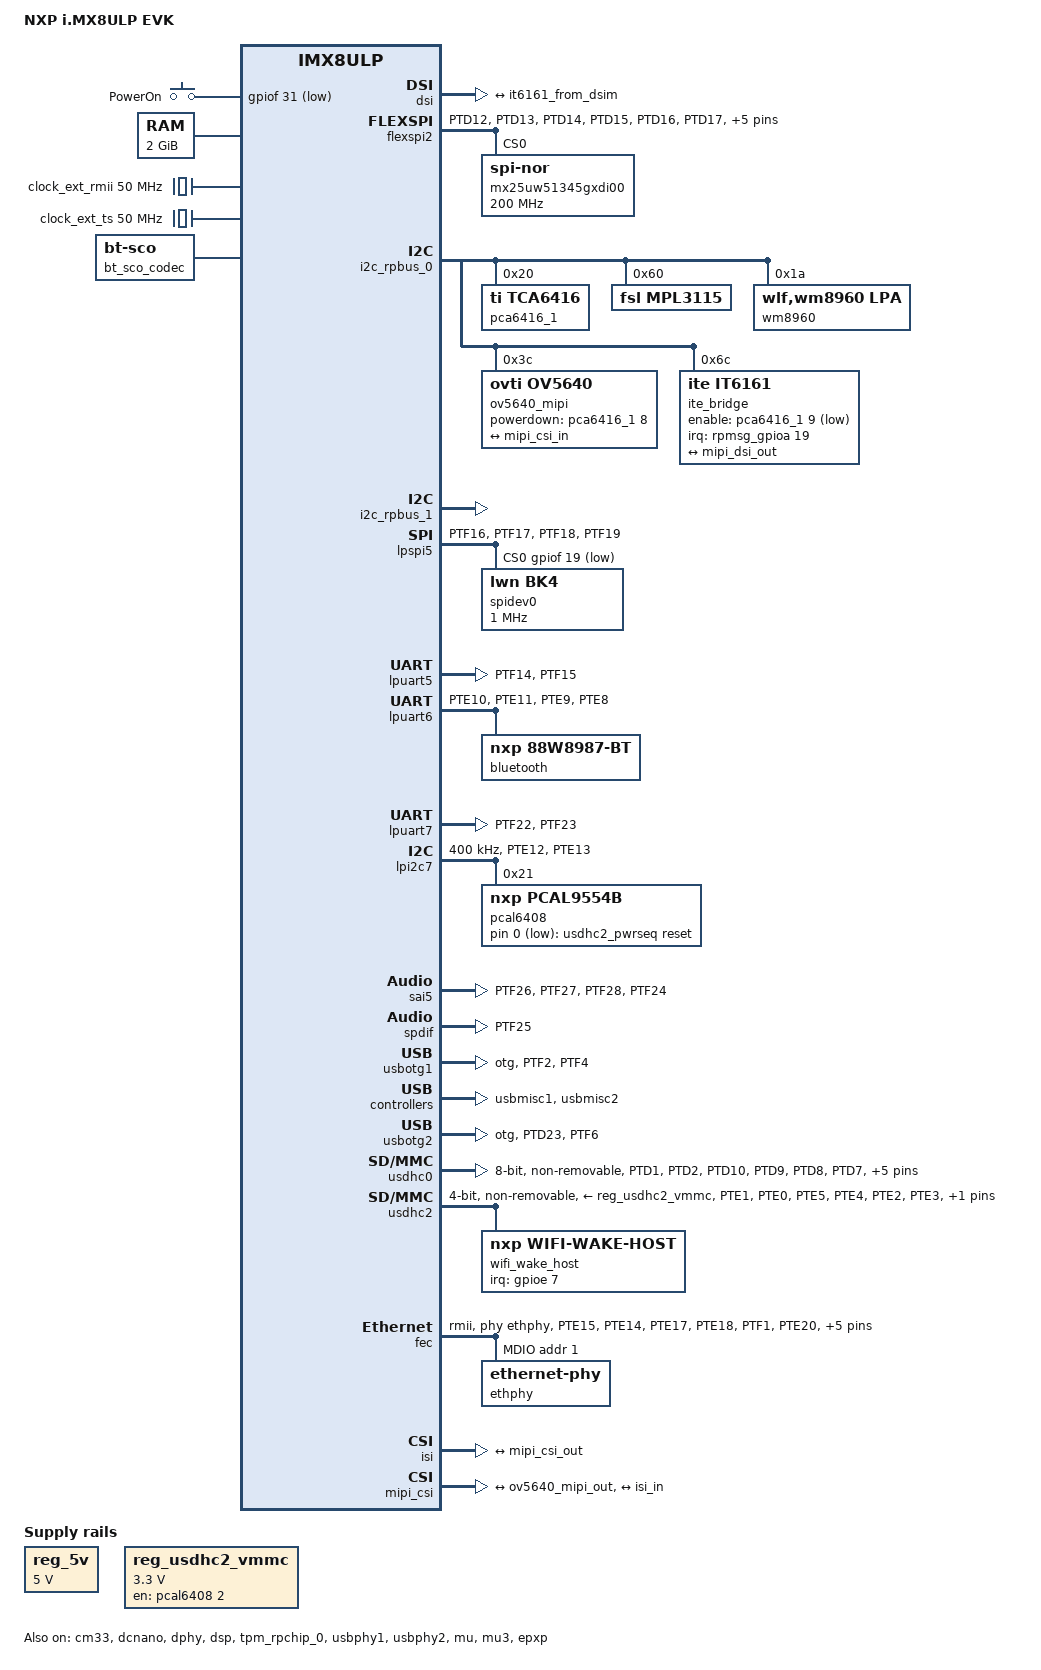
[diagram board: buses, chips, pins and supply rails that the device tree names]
// SPDX-License-Identifier: (GPL-2.0+ OR MIT)
/*
 * Copyright 2021 NXP
 */

/dts-v1/;

#include "imx8ulp.dtsi"
#include "imx8ulp-rpmsg.dtsi"
#include <dt-bindings/input/input.h>

/ {
	model = "NXP i.MX8ULP EVK";
	compatible = "fsl,imx8ulp-evk", "fsl,imx8ulp";

	chosen {
		stdout-path = &lpuart5;
	};

	gpio-keys {
		compatible = "gpio-keys";
		pinctrl-names = "default";
		pinctrl-0 = <&pinctrl_gpio_keys>;

		power-on {
			label = "PowerOn";
			gpios = <&gpiof 31 GPIO_ACTIVE_LOW>;
			linux,code = <KEY_POWER>;
		};
	};

	memory@80000000 {
		device_type = "memory";
		reg = <0x0 0x80000000 0 0x80000000>;
	};

	rpmsg_keys: rpmsg-keys {
		compatible = "fsl,rpmsg-keys";

		volume-up {
			label = "VolumeUp";
			linux,code = <KEY_VOLUMEUP>;
			rpmsg-key,wakeup;
		};

		volume-down {
			label = "VolumeDown";
			linux,code = <KEY_VOLUMEDOWN>;
			rpmsg-key,wakeup;
		};
	};

	reserved-memory {
		#address-cells = <2>;
		#size-cells = <2>;
		ranges;

		linux,cma {
			compatible = "shared-dma-pool";
			reusable;
			size = <0 0x28000000>;
			linux,cma-default;
		};

		m33_reserved: noncacheable-section@a8600000 {
			reg = <0 0xa8600000 0 0x1000000>;
			no-map;
		};

		rsc_table: rsc-table@1fff8000 {
			reg = <0 0x1fff8000 0 0x1000>;
			no-map;
		};

		dsp_reserved: dsp_reserved@8e000000 {
			reg = <0 0x8e000000 0 0x1000000>;
			no-map;
		};
		dsp_reserved_heap: dsp_reserved_heap@8f000000 {
			reg = <0 0x8f000000 0 0xef0000>;
			no-map;
		};
		dsp_vdev0vring0: vdev0vring0@8fef0000 {
			reg = <0 0x8fef0000 0 0x8000>;
			no-map;
		};
		dsp_vdev0vring1: vdev0vring1@8fef8000 {
			reg = <0 0x8fef8000 0 0x8000>;
			no-map;
		};
		dsp_vdev0buffer: vdev0buffer@8ff00000 {
			compatible = "shared-dma-pool";
			reg = <0 0x8ff00000 0 0x100000>;
			no-map;
		};

		ele_reserved: ele-reserved@90000000 {
			compatible = "shared-dma-pool";
			reg = <0 0x90000000 0 0x100000>;
			no-map;
		};

		vdev0vring0: vdev0vring0@aff00000 {
			reg = <0 0xaff00000 0 0x8000>;
			no-map;
		};

		vdev0vring1: vdev0vring1@aff08000 {
			reg = <0 0xaff08000 0 0x8000>;
			no-map;
		};

		vdev1vring0: vdev1vring0@aff10000 {
			reg = <0 0xaff10000 0 0x8000>;
			no-map;
		};

		vdev1vring1: vdev1vring1@aff18000 {
			reg = <0 0xaff18000 0 0x8000>;
			no-map;
		};

		micfil_reserved: micfil-rpmsg@a8300000 {
			compatible = "shared-dma-pool";
			reg = <0 0xa8300000 0 0x100000>;
			no-map;
		};

		vdevbuffer: vdevbuffer@a8400000 {
			compatible = "shared-dma-pool";
			reg = <0 0xa8400000 0 0x100000>;
			no-map;
		};

		audio_reserved: audio@a8500000 {
			compatible = "shared-dma-pool";
			no-map;
			reg = <0 0xa8500000 0 0x100000>;
		};
	};

	clock_ext_rmii: clock-ext-rmii {
		compatible = "fixed-clock";
		clock-frequency = <50000000>;
		clock-output-names = "ext_rmii_clk";
		#clock-cells = <0>;
	};

	clock_ext_ts: clock-ext-ts {
		compatible = "fixed-clock";
		/* External ts clock is 50MHZ from PHY on EVK board. */
		clock-frequency = <50000000>;
		clock-output-names = "ext_ts_clk";
		#clock-cells = <0>;
	};

	reg_5v: regulator-5v {
		compatible = "regulator-fixed";
		regulator-name = "5V";
		regulator-min-microvolt = <5000000>;
		regulator-max-microvolt = <5000000>;
		regulator-always-on;
	};

	reg_usdhc2_vmmc: regulator-usdhc2 {
		compatible = "regulator-fixed";
		regulator-name = "WLAN_EN";
		regulator-min-microvolt = <3300000>;
		regulator-max-microvolt = <3300000>;
		gpio = <&pcal6408 2 GPIO_ACTIVE_HIGH>;
		enable-active-high;
	};

	usdhc2_pwrseq: usdhc2_pwrseq {
		compatible = "mmc-pwrseq-simple";
		reset-gpios = <&pcal6408 0 GPIO_ACTIVE_LOW>;
	};

	bt_sco_codec: bt_sco_codec {
		#sound-dai-cells = <1>;
		compatible = "linux,bt-sco";
	};

	sound-bt-sco {
		compatible = "simple-audio-card";
		simple-audio-card,name = "bt-sco-audio";
		simple-audio-card,format = "dsp_a";
		simple-audio-card,bitclock-inversion;
		simple-audio-card,frame-master = <&btcpu>;
		simple-audio-card,bitclock-master = <&btcpu>;

		btcpu: simple-audio-card,cpu {
			sound-dai = <&sai5>;
			dai-tdm-slot-num = <2>;
			dai-tdm-slot-width = <16>;
		};

		simple-audio-card,codec {
			sound-dai = <&bt_sco_codec 1>;
		};
	};

	sound-spdif {
		compatible = "fsl,imx-audio-spdif";
		model = "imx-spdif";
		spdif-controller = <&spdif>;
		spdif-out;
		fsl,constraint-rate = <16000>, <32000>, <48000>,
				      <64000>, <96000>, <192000>;
	};

	rpmsg_audio: rpmsg-audio {
		compatible = "fsl,imx8ulp-rpmsg-audio";
		model = "wm8960-audio";
		fsl,rpmsg-out;
		fsl,rpmsg-in;
		audio-codec = <&wm8960>;
		memory-region = <&audio_reserved>;
		audio-routing =
			"LINPUT1", "MICB",
			"LINPUT3", "MICB";
		status = "okay";
	};

	rpmsg_micfil: rpmsg_micfil {
		compatible = "fsl,imx8ulp-rpmsg-audio";
		model = "micfil-audio";
		fsl,rpmsg-channel-name = "rpmsg-micfil-channel";
		fsl,rpmsg-in;
		memory-region = <&micfil_reserved>;
		status = "okay";
	};
};

&cm33 {
	mbox-names = "tx", "rx", "rxdb";
	mboxes = <&mu 0 1>,
		 <&mu 1 1>,
		 <&mu 3 1>;
	memory-region = <&vdevbuffer>, <&vdev0vring0>, <&vdev0vring1>,
			<&vdev1vring0>, <&vdev1vring1>, <&rsc_table>;
	status = "okay";
};

&dcnano {
	status = "okay";
};

&dphy {
	status = "okay";
};

&dsi {
	status = "okay";
	ports {
		port@1 {
			reg = <1>;
			mipi_dsi_out: endpoint {
				remote-endpoint = <&it6161_from_dsim>;
			};
		};
	};
};

&dsp {
	assigned-clocks = <&cgc2 IMX8ULP_CLK_HIFI_SEL>, <&cgc2 IMX8ULP_CLK_HIFI_DIVCORE>;
	assigned-clock-parents = <&cgc2 IMX8ULP_CLK_PLL4_PFD0>;
	assigned-clock-rates = <0>, <475200000>;
	memory-region = <&dsp_vdev0buffer>, <&dsp_vdev0vring0>,
			<&dsp_vdev0vring1>, <&dsp_reserved>;
	status = "okay";
};

&flexspi2 {
	pinctrl-names = "default", "sleep";
	pinctrl-0 = <&pinctrl_flexspi2_ptd>;
	pinctrl-1 = <&pinctrl_flexspi2_ptd>;
	status = "okay";

	mx25uw51345gxdi00: flash@0 {
		compatible = "jedec,spi-nor";
		reg = <0>;
		spi-max-frequency = <200000000>;
		spi-tx-bus-width = <8>;
		spi-rx-bus-width = <8>;
	};
};

&i2c_rpbus_0 {
	#address-cells = <1>;
	#size-cells = <0>;
	status = "okay";

	pca6416_1: gpio@20 {
		compatible = "ti,tca6416";
		reg = <0x20>;
		gpio-controller;
		#gpio-cells = <2>;
	};

	mpl3115@60 {
		compatible = "fsl,mpl3115";
		reg = <0x60>;
	};

	wm8960: wm8960@1a {
		compatible = "wlf,wm8960,lpa";
		reg = <0x1a>;
		wlf,shared-lrclk;
		clocks = <&wm8960_mclk>;
		clock-names = "mclk";
	};

	ov5640_mipi: ov5640_mipi@3c {
		compatible = "ovti,ov5640";
		reg = <0x3c>;
		clocks = <&cgc2 IMX8ULP_CLK_DSI_PHY_REF>;
		clock-names = "xclk";
		powerdown-gpios = <&pca6416_1 8 GPIO_ACTIVE_HIGH>;
		status = "okay";

		port {
			ov5640_mipi_out: endpoint {
				remote-endpoint = <&mipi_csi_in>;
				data-lanes = <1 2>;
				clock-lanes = <0>;
			};
		};
	};

	ite_bridge: it6161@6c {
		compatible = "ite,it6161";
		reg = <0x6c>;
		it6161-addr-hdmi-tx = <0x4c>;
		enable-gpios = <&pca6416_1 9 GPIO_ACTIVE_LOW>;
		interrupt-parent = <&rpmsg_gpioa>;
		interrupts = <19 IRQ_TYPE_LEVEL_LOW>;
		status = "okay";

		port {
			it6161_from_dsim: endpoint {
				remote-endpoint = <&mipi_dsi_out>;
			};
		};
	};
};

&i2c_rpbus_1 {
	#address-cells = <1>;
	#size-cells = <0>;
	status = "okay";
};

&lpspi5 {
	fsl,spi-num-chipselects = <1>;
	pinctrl-names = "default", "sleep";
	pinctrl-0 = <&pinctrl_lpspi5>;
	pinctrl-1 = <&pinctrl_lpspi5>;
	cs-gpios = <&gpiof 19 GPIO_ACTIVE_LOW>;
	pinctrl-assert-gpios = <&pca6416_1 10 GPIO_ACTIVE_LOW>;
	status = "okay";

	spidev0: spi@0 {
		reg = <0>;
		compatible = "lwn,bk4";
		spi-max-frequency = <1000000>;
	};
};

&lpuart5 {
	/* console */
	pinctrl-names = "default", "sleep";
	pinctrl-0 = <&pinctrl_lpuart5>;
	pinctrl-1 = <&pinctrl_lpuart5>;
	status = "okay";
};

&lpuart6 {
	/* BT */
	pinctrl-names = "default", "sleep";
	pinctrl-0 = <&pinctrl_lpuart6>;
	pinctrl-1 = <&pinctrl_lpuart6>;
	status = "okay";

	bluetooth {
		compatible = "nxp,88w8987-bt";
	};
};

&lpuart7 {
	/* FT4232 PortD: need to connect J25/J26 2-3 */
	pinctrl-names = "default", "sleep";
	pinctrl-0 = <&pinctrl_lpuart7>;
	pinctrl-1 = <&pinctrl_lpuart7>;
	status = "okay";
};

&lpi2c7 {
	#address-cells = <1>;
	#size-cells = <0>;
	clock-frequency = <400000>;
	pinctrl-names = "default", "sleep";
	pinctrl-0 = <&pinctrl_lpi2c7>;
	pinctrl-1 = <&pinctrl_lpi2c7>;
	status = "okay";

	ptn5150_1: typec@1d {
		compatible = "nxp,ptn5150";
		reg = <0x1d>;
		int-gpios = <&gpiof 3 IRQ_TYPE_EDGE_FALLING>;
		pinctrl-names = "default";
		pinctrl-0 = <&pinctrl_typec1>;
		status = "disabled";
	};

	pcal6408: gpio@21 {
		compatible = "nxp,pcal9554b";
		reg = <0x21>;
		gpio-controller;
		#gpio-cells = <2>;
	};

	ptn5150_2: typec@3d {
		compatible = "nxp,ptn5150";
		reg = <0x3d>;
		int-gpios = <&gpiof 5 IRQ_TYPE_EDGE_FALLING>;
		pinctrl-names = "default";
		pinctrl-0 = <&pinctrl_typec2>;
		status = "disabled";
	};
};

&sai5 {
	#sound-dai-cells = <0>;
	pinctrl-names = "default", "sleep";
	pinctrl-0 = <&pinctrl_sai5>;
	pinctrl-1 = <&pinctrl_sai5>;
	assigned-clocks = <&cgc1 IMX8ULP_CLK_SAI5_SEL>;
	assigned-clock-parents = <&cgc1 IMX8ULP_CLK_SPLL3_PFD1_DIV1>;
	fsl,dataline = <1 0x08 0x01>;
	status = "okay";
};

&spdif {
	pinctrl-names = "default", "sleep";
	pinctrl-0 = <&pinctrl_spdif>;
	pinctrl-1 = <&pinctrl_spdif>;
	assigned-clocks = <&cgc2 IMX8ULP_CLK_SPDIF_SEL>;
	assigned-clock-parents = <&cgc1 IMX8ULP_CLK_SPLL3_PFD1_DIV1>;
	status = "okay";
};

&tpm_rpchip_0 {
	status = "okay";
};

&usbotg1 {
	pinctrl-names = "default";
	pinctrl-0 = <&pinctrl_usb1>;
	dr_mode = "otg";
	hnp-disable;
	srp-disable;
	adp-disable;
	over-current-active-low;
	status = "okay";
};

&usbphy1 {
	fsl,tx-d-cal = <110>;
	status = "okay";
};

&usbmisc1 {
	status = "okay";
};

&usbotg2 {
	pinctrl-names = "default";
	pinctrl-0 = <&pinctrl_usb2>;
	dr_mode = "otg";
	hnp-disable;
	srp-disable;
	adp-disable;
	over-current-active-low;
	status = "okay";
};

&usbphy2 {
	fsl,tx-d-cal = <110>;
	status = "okay";
};

&usbmisc2 {
	status = "okay";
};

&usdhc0 {
	pinctrl-names = "default", "state_100mhz", "state_200mhz", "sleep";
	pinctrl-0 = <&pinctrl_usdhc0>;
	pinctrl-1 = <&pinctrl_usdhc0>;
	pinctrl-2 = <&pinctrl_usdhc0>;
	pinctrl-3 = <&pinctrl_usdhc0>;
	non-removable;
	bus-width = <8>;
	fsl,tuning-step = <1>;
	status = "okay";
};

&usdhc2 {
	pinctrl-names = "default", "state_100mhz", "state_200mhz", "sleep";
	pinctrl-0 = <&pinctrl_usdhc2_pte>;
	pinctrl-1 = <&pinctrl_usdhc2_pte>;
	pinctrl-2 = <&pinctrl_usdhc2_pte>;
	pinctrl-3 = <&pinctrl_usdhc2_pte>;
	mmc-pwrseq = <&usdhc2_pwrseq>;
	vmmc-supply = <&reg_usdhc2_vmmc>;
	max-frequency = <100000000>;
	bus-width = <4>;
	keep-power-in-suspend;
	non-removable;
	wakeup-source;
	status = "okay";

	wifi_wake_host {
		compatible = "nxp,wifi-wake-host";
		interrupt-parent = <&gpioe>;
		interrupts = <7 IRQ_TYPE_LEVEL_LOW>;
		interrupt-names = "host-wake";
	};
};

&ele_fw2 {
	memory-region = <&ele_reserved>;
};

&fec {
	pinctrl-names = "default", "sleep";
	pinctrl-0 = <&pinctrl_enet>;
	pinctrl-1 = <&pinctrl_enet>;
	clocks = <&cgc1 IMX8ULP_CLK_XBAR_DIVBUS>,
		 <&pcc4 IMX8ULP_CLK_ENET>,
		 <&cgc1 IMX8ULP_CLK_ENET_TS_SEL>,
		 <&clock_ext_rmii>;
	clock-names = "ipg", "ahb", "ptp", "enet_clk_ref";
	assigned-clocks = <&cgc1 IMX8ULP_CLK_ENET_TS_SEL>;
	assigned-clock-parents = <&clock_ext_ts>;
	phy-mode = "rmii";
	phy-handle = <&ethphy>;
	status = "okay";

	mdio {
		#address-cells = <1>;
		#size-cells = <0>;

		ethphy: ethernet-phy@1 {
			reg = <1>;
			micrel,led-mode = <1>;
		};
	};
};

&mu {
	status = "okay";
};

&mu3 {
	status = "okay";
};

&iomuxc1 {
	pinctrl_dsi: dsigrp {
		fsl,pins = <
			MX8ULP_PAD_PTF8__PTF8		0x3
		>;
	};

	pinctrl_enet: enetgrp {
		fsl,pins = <
			MX8ULP_PAD_PTE15__ENET0_MDC     0x7
			MX8ULP_PAD_PTE14__ENET0_MDIO    0x7
			MX8ULP_PAD_PTE17__ENET0_RXER    0x7
			MX8ULP_PAD_PTE18__ENET0_CRS_DV  0x43
			MX8ULP_PAD_PTF1__ENET0_RXD0     0x43
			MX8ULP_PAD_PTE20__ENET0_RXD1    0x43
			MX8ULP_PAD_PTE16__ENET0_TXEN    0x7
			MX8ULP_PAD_PTE23__ENET0_TXD0    0x7
			MX8ULP_PAD_PTE22__ENET0_TXD1    0x7
			MX8ULP_PAD_PTE19__ENET0_REFCLK  0x43
			MX8ULP_PAD_PTF10__ENET0_1588_CLKIN 0x43
		>;
	};

	pinctrl_flexspi2_ptd: flexspi2ptdgrp {
		fsl,pins = <

			MX8ULP_PAD_PTD12__FLEXSPI2_A_SS0_B	0x42
			MX8ULP_PAD_PTD13__FLEXSPI2_A_SCLK	0x42
			MX8ULP_PAD_PTD14__FLEXSPI2_A_DATA3	0x42
			MX8ULP_PAD_PTD15__FLEXSPI2_A_DATA2	0x42
			MX8ULP_PAD_PTD16__FLEXSPI2_A_DATA1	0x42
			MX8ULP_PAD_PTD17__FLEXSPI2_A_DATA0	0x42
			MX8ULP_PAD_PTD18__FLEXSPI2_A_DQS	0x42
			MX8ULP_PAD_PTD19__FLEXSPI2_A_DATA7	0x42
			MX8ULP_PAD_PTD20__FLEXSPI2_A_DATA6	0x42
			MX8ULP_PAD_PTD21__FLEXSPI2_A_DATA5	0x42
			MX8ULP_PAD_PTD22__FLEXSPI2_A_DATA4	0x42
		>;
	};

	pinctrl_gpio_keys: gpiokeys {
		fsl,pins = <
			MX8ULP_PAD_PTF31__PTF31		0x3
		>;
	};

	pinctrl_lpspi5: lpspi5grp {
		fsl,pins = <
			MX8ULP_PAD_PTF16__LPSPI5_SIN	0x43
			MX8ULP_PAD_PTF17__LPSPI5_SOUT	0x43
			MX8ULP_PAD_PTF18__LPSPI5_SCK	0x43
			MX8ULP_PAD_PTF19__PTF19		0x43
		>;
	};

	pinctrl_lpuart5: lpuart5grp {
		fsl,pins = <
			MX8ULP_PAD_PTF14__LPUART5_TX	0x3
			MX8ULP_PAD_PTF15__LPUART5_RX	0x3
		>;
	};

	pinctrl_lpuart6: lpuart6grp {
		fsl,pins = <
			MX8ULP_PAD_PTE10__LPUART6_TX	0x3
			MX8ULP_PAD_PTE11__LPUART6_RX	0x3
			MX8ULP_PAD_PTE9__LPUART6_RTS_B	0x3
			MX8ULP_PAD_PTE8__LPUART6_CTS_B	0x3
		>;
	};

	pinctrl_lpuart7: lpuart7grp {
		fsl,pins = <
			MX8ULP_PAD_PTF22__LPUART7_TX	0x3
			MX8ULP_PAD_PTF23__LPUART7_RX	0x3
		>;
	};

	pinctrl_lpi2c7: lpi2c7grp {
		fsl,pins = <
			MX8ULP_PAD_PTE12__LPI2C7_SCL	0x20
			MX8ULP_PAD_PTE13__LPI2C7_SDA	0x20
		>;
	};

	pinctrl_typec1: typec1grp {
		fsl,pins = <
			MX8ULP_PAD_PTF3__PTF3           0x3
		>;
	};

	pinctrl_typec2: typec2grp {
		fsl,pins = <
			MX8ULP_PAD_PTF5__PTF5           0x3
		>;
	};

	pinctrl_usb1: usb1grp {
		fsl,pins = <
			MX8ULP_PAD_PTF2__USB0_ID	0x10003
			MX8ULP_PAD_PTF4__USB0_OC	0x10003
		>;
	};

	pinctrl_usb2: usb2grp {
		fsl,pins = <
			MX8ULP_PAD_PTD23__USB1_ID	0x10003
			MX8ULP_PAD_PTF6__USB1_OC	0x10003
		>;
	};

	pinctrl_sai5: sai5grp {
		fsl,pins = <
			MX8ULP_PAD_PTF26__I2S5_TX_BCLK  0x43
			MX8ULP_PAD_PTF27__I2S5_TX_FS    0x43
			MX8ULP_PAD_PTF28__I2S5_TXD0     0x43
			MX8ULP_PAD_PTF24__I2S5_RXD3 	0x43
		>;
	};

	pinctrl_spdif: spdifgrp {
		fsl,pins = <
			MX8ULP_PAD_PTF25__SPDIF_OUT1    0x43
		>;
	};

	pinctrl_usdhc0: usdhc0grp {
		fsl,pins = <
			MX8ULP_PAD_PTD1__SDHC0_CMD	0x3
			MX8ULP_PAD_PTD2__SDHC0_CLK	0x10002
			MX8ULP_PAD_PTD10__SDHC0_D0	0x3
			MX8ULP_PAD_PTD9__SDHC0_D1	0x3
			MX8ULP_PAD_PTD8__SDHC0_D2	0x3
			MX8ULP_PAD_PTD7__SDHC0_D3	0x3
			MX8ULP_PAD_PTD6__SDHC0_D4	0x3
			MX8ULP_PAD_PTD5__SDHC0_D5	0x3
			MX8ULP_PAD_PTD4__SDHC0_D6	0x3
			MX8ULP_PAD_PTD3__SDHC0_D7	0x3
			MX8ULP_PAD_PTD11__SDHC0_DQS	0x10002
		>;
	};

	pinctrl_usdhc2_pte: usdhc2ptegrp {
		fsl,pins = <
			MX8ULP_PAD_PTE1__SDHC2_D0	0x3
			MX8ULP_PAD_PTE0__SDHC2_D1	0x3
			MX8ULP_PAD_PTE5__SDHC2_D2	0x3
			MX8ULP_PAD_PTE4__SDHC2_D3	0x3
			MX8ULP_PAD_PTE2__SDHC2_CLK	0x10002
			MX8ULP_PAD_PTE3__SDHC2_CMD	0x3
			MX8ULP_PAD_PTE7__PTE7		0x10003
		>;
	};

};

&isi {
	status = "okay";

	ports {
		#address-cells = <1>;
		#size-cells = <0>;

		port@0 {
			reg = <0>;

			isi_in: endpoint {
				remote-endpoint = <&mipi_csi_out>;
			};
		};
	};
};

&mipi_csi {
	status = "okay";

	ports {
		#address-cells = <1>;
		#size-cells = <0>;

		port@0 {
			reg = <0>;

			mipi_csi_in: endpoint {
				remote-endpoint = <&ov5640_mipi_out>;
				data-lanes = <1 2>;
				clock-lanes = <0>;
			};
		};

		port@1 {
			reg = <1>;

			mipi_csi_out: endpoint {
				remote-endpoint = <&isi_in>;
			};
		};
	};
};

&epxp {
	status = "okay";
};
